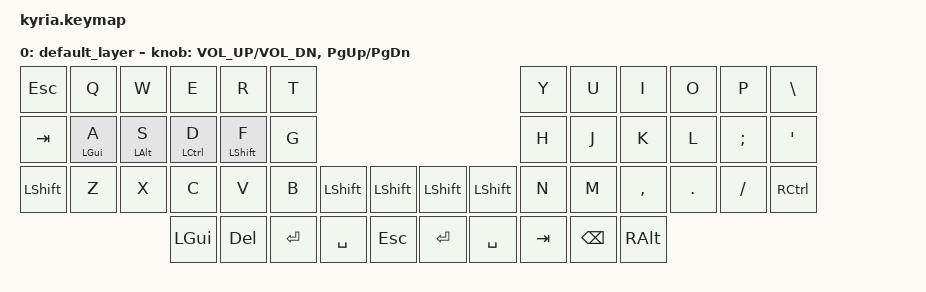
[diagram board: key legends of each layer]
/*
 * Copyright (c) 2020 The ZMK Contributors
 *
 * SPDX-License-Identifier: MIT
 */

#include <behaviors.dtsi>
#include <dt-bindings/zmk/keys.h>

&mt {
    	tapping-term-ms = <200>;
};

/ {
 behaviors {
        hm: homerow_mods {
            compatible = "zmk,behavior-hold-tap";
            label = "HOMEROW_MODS";
            #binding-cells = <2>;
            tapping-term-ms = <250>;
            quick_tap_ms = <0>;
            flavor = "tap-preferred";
            bindings = <&kp>, <&kp>;
        };
    };
	keymap {
		compatible = "zmk,keymap";

		default_layer {
// ---------------------------------------------------------------------------------------------------------------------------------
// |  ESC  |  Q  |  W  |  E   |  R   |  T   |                                          |  Y   |  U    |  I    |  O   |   P   |   \  |
// |  TAB  |  A  |  S  |  D   |  F   |  G   |                                          |  H   |  J    |  K    |  L   |   ;   |   '  |
// | SHIFT |  Z  |  X  |  C   |  V   |  B   | L SHIFT | L SHIFT |  | L SHIFT | L SHIFT |  N   |  M    |  ,    |  .   |   /   | CTRL |
//                     | GUI  | DEL  | RET  |  SPACE  |   ESC   |  |   RET   |  SPACE  | TAB  | BSPC  | R-ALT |
			bindings = <
	&kp ESC   &kp Q      &kp W       &kp E       &kp R       &kp T                                                  &kp Y &kp U  &kp I     &kp O   &kp P    &kp BSLH
	&kp TAB   &mt LGUI A &mt LALT S  &mt LCTRL D &mt LSHFT F &kp G                                                  &kp H &kp J  &kp K     &kp L   &kp SEMI &kp SQT
	&kp LSHFT &kp Z      &kp X       &kp C       &kp V       &kp B    &kp LSHFT &kp LSHFT      &kp LSHFT &kp LSHFT  &kp N &kp M  &kp COMMA &kp DOT &kp FSLH &kp RCTRL
	                                 &kp LGUI    &kp DEL     &kp RET  &kp SPACE &kp ESC        &kp RET   &kp SPACE  &kp TAB &kp BSPC &kp RALT
			>;

			sensor-bindings = <&inc_dec_kp C_VOL_UP C_VOL_DN &inc_dec_kp PG_UP PG_DN>;
		};
	};
};
